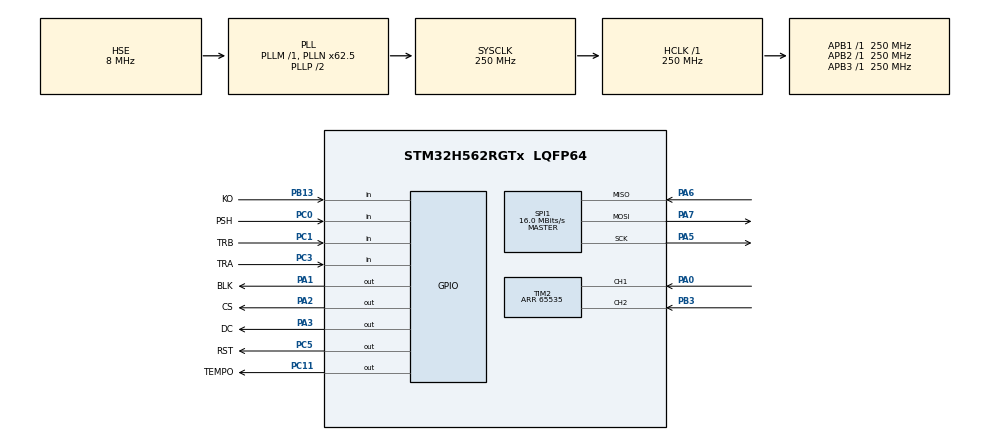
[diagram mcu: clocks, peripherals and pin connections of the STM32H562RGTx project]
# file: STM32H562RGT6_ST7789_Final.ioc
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BOOTPATH.BootPathName=LEGACY
BOOTPATH.UserSelectedBootPath=LEGACY
CORTEX_M33_NS.Number-Cortex_Memory_Protection_Unit_Region0_OTP_RO_AREAS_Settings=MPU_REGION_NUMBER0
CORTEX_M33_NS.default_mode_Activation=1
CORTEX_M33_NS.userName=CORTEX_M33
GPDMA1.DATAHANDLING_GPDMACH0=NONE
GPDMA1.DESTINC_GPDMACH0=DMA_DINC_FIXED
GPDMA1.DIRECTION_GPDMACH0=DMA_MEMORY_TO_PERIPH
GPDMA1.IPHANDLE_GPDMACH0-SIMPLEREQUEST_GPDMACH0=__NULL
GPDMA1.REQUEST_GPDMACH0=GPDMA1_REQUEST_SPI1_TX
GPDMA1.SRCINC_GPDMACH0=DMA_SINC_INCREMENTED
GPDMA1.TRIGGERPOLARITY_GPDMACH0=DMA_TRIG_POLARITY_MASKED
Mcu.Family=STM32H5
Mcu.Name=STM32H562RGTx
Mcu.Package=LQFP64
NVIC.GPDMA1_Channel0_IRQn=true\:0\:0\:false\:false\:true\:false\:true\:true
NVIC.PriorityGroup=NVIC_PRIORITYGROUP_4
NVIC.SPI1_IRQn=true\:0\:0\:false\:false\:true\:true\:true\:true
PA0.Signal=S_TIM2_CH1
PA1.GPIO_Label=BLK
PA1.Signal=GPIO_Output
PA2.GPIO_Label=CS
PA2.GPIO_PuPd=GPIO_NOPULL
PA2.GPIO_Speed=GPIO_SPEED_FREQ_VERY_HIGH
PA2.Signal=GPIO_Output
PA3.GPIO_Label=DC
PA3.GPIO_PuPd=GPIO_NOPULL
PA3.GPIO_Speed=GPIO_SPEED_FREQ_VERY_HIGH
PA3.Signal=GPIO_Output
PA5.Mode=Full_Duplex_Master
PA5.Signal=SPI1_SCK
PA6.Mode=Full_Duplex_Master
PA6.Signal=SPI1_MISO
PA7.Mode=Full_Duplex_Master
PA7.Signal=SPI1_MOSI
PB13.GPIO_Label=KO
PB13.GPIO_PuPd=GPIO_PULLUP
PB13.Signal=GPIO_Input
PB3(JTDO/TRACESWO).Signal=S_TIM2_CH2
PC0.GPIO_Label=PSH
PC0.GPIO_PuPd=GPIO_PULLUP
PC0.Signal=GPIO_Input
PC1.GPIO_Label=TRB
PC1.GPIO_PuPd=GPIO_PULLUP
PC1.Signal=GPIO_Input
PC11.GPIO_Label=TEMPO
PC11.Signal=GPIO_Output
PC14-OSC32_IN(OSC32_IN).Mode=LSE-External-Oscillator
PC14-OSC32_IN(OSC32_IN).Signal=RCC_OSC32_IN
PC15-OSC32_OUT(OSC32_OUT).Mode=LSE-External-Oscillator
PC15-OSC32_OUT(OSC32_OUT).Signal=RCC_OSC32_OUT
PC3.GPIO_Label=TRA
PC3.GPIO_PuPd=GPIO_PULLUP
PC3.Signal=GPIO_Input
PC5.GPIO_Label=RST
PC5.Signal=GPIO_Output
PH0-OSC_IN(PH0).Mode=HSE-External-Oscillator
PH0-OSC_IN(PH0).Signal=RCC_OSC_IN
PH1-OSC_OUT(PH1).Mode=HSE-External-Oscillator
PH1-OSC_OUT(PH1).Signal=RCC_OSC_OUT
ProjectManager.HeapSize=0x200
ProjectManager.StackSize=0x400
ProjectManager.TargetToolchain=STM32CubeIDE
RCC.ADCFreq_Value=250000000
RCC.AHBFreq_Value=250000000
RCC.APB1Freq_Value=250000000
RCC.APB1TimFreq_Value=250000000
RCC.APB2Freq_Value=250000000
RCC.APB2TimFreq_Value=250000000
RCC.APB3Freq_Value=250000000
RCC.CSI_VALUE=4000000
RCC.CortexFreq_Value=250000000
RCC.EPOD_VALUE=8000000
RCC.HCLKFreq_Value=250000000
RCC.HSE_VALUE=8000000
RCC.HSI48_VALUE=48000000
RCC.HSI_VALUE=64000000
RCC.LSIRC_VALUE=32000
RCC.PLL2FRACN=0
RCC.PLL3FRACN=0
RCC.PLLFRACN=4096
RCC.PLLN=62
RCC.PLLSourceVirtual=RCC_PLL1_SOURCE_HSE
RCC.SPI1CLockSelection=RCC_SPI1CLKSOURCE_CLKP
RCC.SPI2CLockSelection=RCC_SPI2CLKSOURCE_CLKP
RCC.SYSCLKFreq_VALUE=250000000
RCC.SYSCLKSource=RCC_SYSCLKSOURCE_PLLCLK
RCC.USBFreq_Value=48000000
RCC.VCOOutputFreq_Value=500000000
SH.S_TIM2_CH1.0=TIM2_CH1,Encoder_Interface
SH.S_TIM2_CH2.0=TIM2_CH2,Encoder_Interface
SPI1.BaudRatePrescaler=SPI_BAUDRATEPRESCALER_2
SPI1.CalculateBaudRate=16.0 MBits/s
SPI1.DataSize=SPI_DATASIZE_8BIT
SPI1.Direction=SPI_DIRECTION_2LINES
SPI1.Mode=SPI_MODE_MASTER
SPI1.NSSPMode=SPI_NSS_PULSE_DISABLE
SPI1.VirtualType=VM_MASTER
TIM2.AutoReloadPreload=TIM_AUTORELOAD_PRELOAD_ENABLE
TIM2.ClockDivision=TIM_CLOCKDIVISION_DIV4
TIM2.EncoderMode=TIM_ENCODERMODE_TI12
TIM2.IC1Filter=10
TIM2.IC2Filter=10
TIM2.PeriodNoDither=65535
VP_BOOTPATH_VS_BOOTPATH.Mode=BP_Activate
VP_CORTEX_M33_NS_VS_Hclk.Mode=Hclk_Mode
VP_GPDMA1_VS_GPDMACH0.Mode=SIMPLEREQUEST_GPDMACH0
VP_ICACHE_VS_ICACHE.Mode=DirectMappedCache
VP_MEMORYMAP_VS_MEMORYMAP.Mode=CurAppReg
VP_PWR_VS_LPOM.Mode=PowerOptimisation
VP_PWR_VS_SECSignals.Mode=Security/Privilege
board=custom

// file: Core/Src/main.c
/* USER CODE BEGIN Header */
/**
  ******************************************************************************
  * @file           : main.c
  * @brief          : Main program body
  ******************************************************************************
  * @attention
  *
  * Copyright (c) 2026 STMicroelectronics.
  * All rights reserved.
  *
  * This software is licensed under terms that can be found in the LICENSE file
  * in the root directory of this software component.
  * If no LICENSE file comes with this software, it is provided AS-IS.
  *
  ******************************************************************************
  */
/* USER CODE END Header */
#include "main.h"

/* USER CODE BEGIN Includes */
#include "st7789.h"
#include "math.h"
#include "stdlib.h" // rand() utiliza esta lib

//#include "string.h"
#include "stdio.h" // Utilizado pelo snprinf

/* USER CODE END Includes */

SPI_HandleTypeDef hspi1;
DMA_HandleTypeDef handle_GPDMA1_Channel0;

TIM_HandleTypeDef htim2;

/* USER CODE BEGIN PV */
volatile uint8_t spi_tx_done = 0;

/* USER CODE END PV */

void SystemClock_Config(void);
void PeriphCommonClock_Config(void);
static void MPU_Config(void);
static void MX_GPIO_Init(void);
static void MX_GPDMA1_Init(void);
static void MX_SPI1_Init(void);
static void MX_ICACHE_Init(void);
static void MX_TIM2_Init(void);

int main(void)
{

  /* MCU Configuration--------------------------------------------------------*/

  /* MPU Configuration--------------------------------------------------------*/
  MPU_Config();

  /* Reset of all peripherals, Initializes the Flash interface and the Systick. */
  HAL_Init();

  /* Configure the system clock */
  SystemClock_Config();

  /* Configure the peripherals common clocks */
  PeriphCommonClock_Config();

  /* Initialize all configured peripherals */
  MX_GPIO_Init();
  MX_GPDMA1_Init();
  MX_SPI1_Init();
  MX_ICACHE_Init();
  MX_TIM2_Init();
  /* USER CODE BEGIN 2 */
  HAL_GPIO_WritePin(BLK_GPIO_Port, BLK_Pin, 1);
  ST7789_Init();
  HAL_TIM_Encoder_Start(&htim2, TIM_CHANNEL_ALL);

  /* USER CODE END 2 */

  /* Infinite loop */
  /* USER CODE BEGIN WHILE */

  uint32_t inicio;
  uint32_t tempo_gasto;
  uint32_t periodo_ms = 10;   // aproximação de 40 Hz

  HAL_GPIO_WritePin(TEMPO_GPIO_Port, TEMPO_Pin, 0);

  ST7789_Fill_Color(BLACK);
  ST7789_WriteString(55, 5, "Snake game", Font_11x18, YELLOW, BLACK);
  ST7789_DrawLine(0, 25, 239, 25, WHITE);
  //ST7789_DrawImage(0, 0, 128, 128, (uint16_t *)saber); // knky

#define CORPO_TOTAL 25
  uint8_t q_x = 10;
  uint8_t q_y = 120;
  uint8_t q_dir = 0; // 0 -> frente, 1 <- traz, 2 ^ cima e 3 v baixo
  char buf[15];
  uint16_t enc_anterior, enc_atual;
  uint8_t tamanho= 1;
  static uint8_t corpo[2][10 * CORPO_TOTAL];
  uint8_t loops = 0;
  uint8_t posx_comida, posy_comida;
  uint8_t comeu = 1;
  uint8_t score = 0;
  uint8_t col_corpo = 0;

  for ( uint8_t i = 0; i < 10; i++) {
 	  corpo[0][i] = i;
      corpo[1][i] = 128;
   }
  __HAL_TIM_SET_COUNTER(&htim2, 32768);
  enc_atual = (uint16_t)(TIM2->CNT)>>2;
  enc_anterior = enc_atual;

  while (1)
  {
	  enc_atual = (uint16_t)(TIM2->CNT)>>2;
	  snprintf(buf, sizeof(buf), "Score: %d", score);
	  ST7789_WriteString(0, 230, buf, Font_7x10, YELLOW, BLACK);
	  HAL_GPIO_TogglePin(TEMPO_GPIO_Port, TEMPO_Pin);
	  inicio = HAL_GetTick();
	  if (loops > 50 && comeu) {
		  posx_comida = (uint8_t)rand()%(200) + 15;
		  posy_comida = (uint8_t)rand()%(180) + 40;

		  loops = 0;
		  comeu = 0;
		  ST7789_DrawFilledCircle(posx_comida, posy_comida, 8, WHITE);
	  }

	  if (enc_anterior != enc_atual ) { // Muda de direção
		  switch(q_dir) {
			  case 0: // Frente
				  if (enc_atual > enc_anterior) {
					  q_dir = 3; // Baixo
				  }
				  if (enc_atual < enc_anterior) {
					  q_dir = 2; // Cima
				  }
				  break;
			  case 1: // Traz
				  if (enc_atual > enc_anterior) {
					  q_dir = 2; // Baixo
				  }
				  if (enc_atual < enc_anterior) {
					  q_dir = 3; // Cima
				  }
				  break;
			  case 2: // Cima
				  if (enc_atual > enc_anterior) {
					  q_dir = 0; // Frente
				  }
				  if (enc_atual < enc_anterior) {
					  q_dir = 1; // Traz
				  }
				  break;
			  case 3: // Baixo
				  if (enc_atual > enc_anterior) {
					  q_dir = 1; // Traz
				  }
				  if (enc_atual < enc_anterior) {
					  q_dir = 0; // Frente
				  }
				  break;
	      }
		  enc_anterior = enc_atual;
	  }
	  if ((q_dir == 0) && (q_x < 239)){ // Frente
		  q_x++;
	  }
	  if ((q_dir == 1) && (q_x > 0)){   // Traz
		  q_x--;
	  }
	  if ((q_dir == 2) && (q_y > 26)){  // Cima
		  q_y--;
	  }
	  if ((q_dir == 3) && (q_y < 239)){ // Baixo
		  q_y++;
	  }

	  // Procula colisão do corpo
	  for ( uint8_t i = 0; i < 10 * tamanho; i++) {
	      if ((corpo[0][i] == q_x ) && (corpo[1][i] == q_y)) {
			  col_corpo = 1;
		  }
	  }

	  if ((q_y >= 239) || (q_y <= 26) || (q_x >= 239) || (q_x <= 0) || (col_corpo == 1)) { // Colisão nos limites da tela
		  for ( uint8_t i = 0; i < 30; i += 3) {
              ST7789_DrawCircle(q_x, q_y, i, RED);
		  }
          HAL_Delay(1000);
          ST7789_WriteString(20, 112, "Game Over!!!", Font_16x26, RED, BLACK);
          HAL_Delay(3000);
          q_x = 0;
          q_y = 120;
          ST7789_Fill_Color(BLACK);
          ST7789_WriteString(55, 5, "Snake game", Font_11x18, YELLOW, BLACK);
          ST7789_DrawLine(0, 25, 239, 25, WHITE);
          __HAL_TIM_SET_COUNTER(&htim2, 32768);
          enc_atual = (uint16_t)(TIM2->CNT)>>2;
          enc_anterior = enc_atual;
          q_dir = 0;
          score = 0;
          tamanho = 1;
          col_corpo = 0;
          comeu  = 1;
          for ( uint8_t i = 0; i < 10; i++) {
         	  corpo[0][i] = i;
              corpo[1][i] = 128;
          }
	  }
	  // Desenha a cobra

	  //for ( uint8_t i = 0; i < 10 * tamanho; i++) {
      //    ST7789_DrawPixel(corpo[0][i], corpo[1][i], WHITE);
	  //}
	  //ST7789_DrawFilledCircle(corpo[0][10 * tamanho - 1], corpo[1][10 * tamanho - 1], 2, WHITE);
	  ST7789_DrawPixel(corpo[0][10 * tamanho - 1], corpo[1][10 * tamanho - 1], WHITE);

	  if ((q_y >= posy_comida-8) && (q_y <= posy_comida +8) && // Comeu
	  (q_x >= posx_comida-8) && (q_x <= posx_comida +8) && (comeu == 0)) {
		  tamanho++;
		  score += 10;
		  comeu = 1;
		  snprintf(buf, sizeof(buf), "Score: %d", score);
		  ST7789_WriteString(0, 230, buf, Font_7x10, YELLOW, BLACK);
		  if (tamanho < (CORPO_TOTAL+1)) {
		      for ( uint8_t i = 0; i < 10; i++) {
		          corpo[0][i + ((tamanho -1) * 10)] = q_x;
		          corpo[1][i + ((tamanho -1) * 10)] = q_y;
		      }
		      ST7789_DrawFilledCircle(posx_comida, posy_comida, 8, BLACK);
		  } else {
	          ST7789_WriteString(40, 112, "You Won!!!", Font_16x26, RED, BLACK);

	          HAL_Delay(3000);
	          q_x = 0;
	          q_y = 120;
	          ST7789_Fill_Color(BLACK);
	          ST7789_WriteString(55, 5, "Snake game", Font_11x18, YELLOW, BLACK);
	          ST7789_DrawLine(0, 25, 239, 25, WHITE);
	          __HAL_TIM_SET_COUNTER(&htim2, 32768);
	          enc_atual = (uint16_t)(TIM2->CNT)>>2;
	          enc_anterior = enc_atual;
	          q_dir = 0;
	          score = 0;
	          tamanho = 1;
	          col_corpo = 0;
	          comeu  = 1;
	          for ( uint8_t i = 0; i < 10; i++) {
	         	  corpo[0][i] = i;
	              corpo[1][i] = 128;
	          }

		  }
      }

    /* USER CODE END WHILE */

    /* USER CODE BEGIN 3 */
      tempo_gasto = HAL_GetTick() - inicio;
      if (tempo_gasto < periodo_ms) {
          HAL_Delay(periodo_ms - tempo_gasto);
      }

      loops++;

      //for ( uint8_t i = 0; i < 10 * tamanho; i++) {
      //    ST7789_DrawPixel(corpo[0][i], corpo[1][i], BLACK);
	  //}
      ST7789_DrawPixel(corpo[0][0], corpo[1][0], BLACK);
	  for ( uint8_t i = 0; i < 10 * tamanho; i++) {
		  corpo[0][i] = corpo[0][i+1];
		  corpo[1][i] = corpo[1][i+1];
	  }
	  corpo[0][10 * tamanho - 1] = q_x;
	  corpo[1][10 * tamanho - 1] = q_y;

  }
  /* USER CODE END 3 */
}

void SystemClock_Config(void)
{
  RCC_OscInitTypeDef RCC_OscInitStruct = {0};
  RCC_ClkInitTypeDef RCC_ClkInitStruct = {0};

  /** Configure the main internal regulator output voltage
  */
  __HAL_PWR_VOLTAGESCALING_CONFIG(PWR_REGULATOR_VOLTAGE_SCALE0);

  while(!__HAL_PWR_GET_FLAG(PWR_FLAG_VOSRDY)) {}

  /** Initializes the RCC Oscillators according to the specified parameters
  * in the RCC_OscInitTypeDef structure.
  */
  RCC_OscInitStruct.OscillatorType = RCC_OSCILLATORTYPE_LSI|RCC_OSCILLATORTYPE_HSE;
  RCC_OscInitStruct.HSEState = RCC_HSE_ON;
  RCC_OscInitStruct.LSIState = RCC_LSI_ON;
  RCC_OscInitStruct.PLL.PLLState = RCC_PLL_ON;
  RCC_OscInitStruct.PLL.PLLSource = RCC_PLL1_SOURCE_HSE;
  RCC_OscInitStruct.PLL.PLLM = 1;
  RCC_OscInitStruct.PLL.PLLN = 62;
  RCC_OscInitStruct.PLL.PLLP = 2;
  RCC_OscInitStruct.PLL.PLLQ = 2;
  RCC_OscInitStruct.PLL.PLLR = 2;
  RCC_OscInitStruct.PLL.PLLRGE = RCC_PLL1_VCIRANGE_3;
  RCC_OscInitStruct.PLL.PLLVCOSEL = RCC_PLL1_VCORANGE_WIDE;
  RCC_OscInitStruct.PLL.PLLFRACN = 4096;
  if (HAL_RCC_OscConfig(&RCC_OscInitStruct) != HAL_OK)
  {
    Error_Handler();
  }

  /** Initializes the CPU, AHB and APB buses clocks
  */
  RCC_ClkInitStruct.ClockType = RCC_CLOCKTYPE_HCLK|RCC_CLOCKTYPE_SYSCLK
                              |RCC_CLOCKTYPE_PCLK1|RCC_CLOCKTYPE_PCLK2
                              |RCC_CLOCKTYPE_PCLK3;
  RCC_ClkInitStruct.SYSCLKSource = RCC_SYSCLKSOURCE_PLLCLK;
  RCC_ClkInitStruct.AHBCLKDivider = RCC_SYSCLK_DIV1;
  RCC_ClkInitStruct.APB1CLKDivider = RCC_HCLK_DIV1;
  RCC_ClkInitStruct.APB2CLKDivider = RCC_HCLK_DIV1;
  RCC_ClkInitStruct.APB3CLKDivider = RCC_HCLK_DIV1;

  if (HAL_RCC_ClockConfig(&RCC_ClkInitStruct, FLASH_LATENCY_5) != HAL_OK)
  {
    Error_Handler();
  }

  /** Configure the programming delay
  */
  __HAL_FLASH_SET_PROGRAM_DELAY(FLASH_PROGRAMMING_DELAY_2);
}

void PeriphCommonClock_Config(void)
{
  RCC_PeriphCLKInitTypeDef PeriphClkInitStruct = {0};

  /** Initializes the peripherals clock
  */
  PeriphClkInitStruct.PeriphClockSelection = RCC_PERIPHCLK_CKPER;
  PeriphClkInitStruct.CkperClockSelection = RCC_CLKPSOURCE_HSI;
  if (HAL_RCCEx_PeriphCLKConfig(&PeriphClkInitStruct) != HAL_OK)
  {
    Error_Handler();
  }
}

static void MX_GPDMA1_Init(void)
{

  /* Peripheral clock enable */
  __HAL_RCC_GPDMA1_CLK_ENABLE();

  /* GPDMA1 interrupt Init */
    HAL_NVIC_SetPriority(GPDMA1_Channel0_IRQn, 0, 0);
    HAL_NVIC_EnableIRQ(GPDMA1_Channel0_IRQn);

}

static void MX_ICACHE_Init(void)
{

  /** Enable instruction cache in 1-way (direct mapped cache)
  */
  if (HAL_ICACHE_ConfigAssociativityMode(ICACHE_1WAY) != HAL_OK)
  {
    Error_Handler();
  }
  if (HAL_ICACHE_Enable() != HAL_OK)
  {
    Error_Handler();
  }

}

static void MX_SPI1_Init(void)
{

  /* SPI1 parameter configuration*/
  hspi1.Instance = SPI1;
  hspi1.Init.Mode = SPI_MODE_MASTER;
  hspi1.Init.Direction = SPI_DIRECTION_2LINES;
  hspi1.Init.DataSize = SPI_DATASIZE_8BIT;
  hspi1.Init.CLKPolarity = SPI_POLARITY_LOW;
  hspi1.Init.CLKPhase = SPI_PHASE_1EDGE;
  hspi1.Init.NSS = SPI_NSS_SOFT;
  hspi1.Init.BaudRatePrescaler = SPI_BAUDRATEPRESCALER_2;
  hspi1.Init.FirstBit = SPI_FIRSTBIT_MSB;
  hspi1.Init.TIMode = SPI_TIMODE_DISABLE;
  hspi1.Init.CRCCalculation = SPI_CRCCALCULATION_DISABLE;
  hspi1.Init.CRCPolynomial = 0x7;
  hspi1.Init.NSSPMode = SPI_NSS_PULSE_DISABLE;
  hspi1.Init.NSSPolarity = SPI_NSS_POLARITY_LOW;
  hspi1.Init.FifoThreshold = SPI_FIFO_THRESHOLD_01DATA;
  hspi1.Init.MasterSSIdleness = SPI_MASTER_SS_IDLENESS_00CYCLE;
  hspi1.Init.MasterInterDataIdleness = SPI_MASTER_INTERDATA_IDLENESS_00CYCLE;
  hspi1.Init.MasterReceiverAutoSusp = SPI_MASTER_RX_AUTOSUSP_DISABLE;
  hspi1.Init.MasterKeepIOState = SPI_MASTER_KEEP_IO_STATE_DISABLE;
  hspi1.Init.IOSwap = SPI_IO_SWAP_DISABLE;
  hspi1.Init.ReadyMasterManagement = SPI_RDY_MASTER_MANAGEMENT_INTERNALLY;
  hspi1.Init.ReadyPolarity = SPI_RDY_POLARITY_HIGH;
  if (HAL_SPI_Init(&hspi1) != HAL_OK)
  {
    Error_Handler();
  }

}

static void MX_TIM2_Init(void)
{

  TIM_Encoder_InitTypeDef sConfig = {0};
  TIM_MasterConfigTypeDef sMasterConfig = {0};

  htim2.Instance = TIM2;
  htim2.Init.Prescaler = 0;
  htim2.Init.CounterMode = TIM_COUNTERMODE_UP;
  htim2.Init.Period = 65535;
  htim2.Init.ClockDivision = TIM_CLOCKDIVISION_DIV4;
  htim2.Init.AutoReloadPreload = TIM_AUTORELOAD_PRELOAD_ENABLE;
  sConfig.EncoderMode = TIM_ENCODERMODE_TI12;
  sConfig.IC1Polarity = TIM_ICPOLARITY_RISING;
  sConfig.IC1Selection = TIM_ICSELECTION_DIRECTTI;
  sConfig.IC1Prescaler = TIM_ICPSC_DIV1;
  sConfig.IC1Filter = 10;
  sConfig.IC2Polarity = TIM_ICPOLARITY_RISING;
  sConfig.IC2Selection = TIM_ICSELECTION_DIRECTTI;
  sConfig.IC2Prescaler = TIM_ICPSC_DIV1;
  sConfig.IC2Filter = 10;
  if (HAL_TIM_Encoder_Init(&htim2, &sConfig) != HAL_OK)
  {
    Error_Handler();
  }
  sMasterConfig.MasterOutputTrigger = TIM_TRGO_RESET;
  sMasterConfig.MasterSlaveMode = TIM_MASTERSLAVEMODE_DISABLE;
  if (HAL_TIMEx_MasterConfigSynchronization(&htim2, &sMasterConfig) != HAL_OK)
  {
    Error_Handler();
  }

}

static void MX_GPIO_Init(void)
{
  GPIO_InitTypeDef GPIO_InitStruct = {0};

  /* GPIO Ports Clock Enable */
  __HAL_RCC_GPIOC_CLK_ENABLE();
  __HAL_RCC_GPIOH_CLK_ENABLE();
  __HAL_RCC_GPIOA_CLK_ENABLE();
  __HAL_RCC_GPIOB_CLK_ENABLE();

  /*Configure GPIO pin Output Level */
  HAL_GPIO_WritePin(GPIOA, BLK_Pin|CS_Pin|DC_Pin, GPIO_PIN_RESET);

  /*Configure GPIO pin Output Level */
  HAL_GPIO_WritePin(GPIOC, RST_Pin|TEMPO_Pin, GPIO_PIN_RESET);

  /*Configure GPIO pins : PSH_Pin TRB_Pin TRA_Pin */
  GPIO_InitStruct.Pin = PSH_Pin|TRB_Pin|TRA_Pin;
  GPIO_InitStruct.Mode = GPIO_MODE_INPUT;
  GPIO_InitStruct.Pull = GPIO_PULLUP;
  HAL_GPIO_Init(GPIOC, &GPIO_InitStruct);

  /*Configure GPIO pin : BLK_Pin */
  GPIO_InitStruct.Pin = BLK_Pin;
  GPIO_InitStruct.Mode = GPIO_MODE_OUTPUT_PP;
  GPIO_InitStruct.Pull = GPIO_NOPULL;
  GPIO_InitStruct.Speed = GPIO_SPEED_FREQ_LOW;
  HAL_GPIO_Init(BLK_GPIO_Port, &GPIO_InitStruct);

  /*Configure GPIO pins : CS_Pin DC_Pin */
  GPIO_InitStruct.Pin = CS_Pin|DC_Pin;
  GPIO_InitStruct.Mode = GPIO_MODE_OUTPUT_PP;
  GPIO_InitStruct.Pull = GPIO_NOPULL;
  GPIO_InitStruct.Speed = GPIO_SPEED_FREQ_VERY_HIGH;
  HAL_GPIO_Init(GPIOA, &GPIO_InitStruct);

  /*Configure GPIO pins : RST_Pin TEMPO_Pin */
  GPIO_InitStruct.Pin = RST_Pin|TEMPO_Pin;
  GPIO_InitStruct.Mode = GPIO_MODE_OUTPUT_PP;
  GPIO_InitStruct.Pull = GPIO_NOPULL;
  GPIO_InitStruct.Speed = GPIO_SPEED_FREQ_LOW;
  HAL_GPIO_Init(GPIOC, &GPIO_InitStruct);

  /*Configure GPIO pin : KO_Pin */
  GPIO_InitStruct.Pin = KO_Pin;
  GPIO_InitStruct.Mode = GPIO_MODE_INPUT;
  GPIO_InitStruct.Pull = GPIO_PULLUP;
  HAL_GPIO_Init(KO_GPIO_Port, &GPIO_InitStruct);

}

/* USER CODE BEGIN 4 */
void HAL_SPI_TxCpltCallback(SPI_HandleTypeDef *hspi)
{
    if (hspi == &ST7789_SPI_PORT)
    {
        spi_tx_done = 1;
    }
}
/* USER CODE END 4 */

 /* MPU Configuration */

void MPU_Config(void)
{
  MPU_Region_InitTypeDef MPU_InitStruct = {0};
  MPU_Attributes_InitTypeDef MPU_AttributesInit = {0};

  /* Disables the MPU */
  HAL_MPU_Disable();

  /** Initializes and configures the Region 0 and the memory to be protected
  */
  MPU_InitStruct.Enable = MPU_REGION_ENABLE;
  MPU_InitStruct.Number = MPU_REGION_NUMBER0;
  MPU_InitStruct.BaseAddress = 0x08FFF000;
  MPU_InitStruct.LimitAddress = 0x08FFFFFF;
  MPU_InitStruct.AttributesIndex = MPU_ATTRIBUTES_NUMBER0;
  MPU_InitStruct.AccessPermission = MPU_REGION_ALL_RO;
  MPU_InitStruct.DisableExec = MPU_INSTRUCTION_ACCESS_DISABLE;
  MPU_InitStruct.IsShareable = MPU_ACCESS_NOT_SHAREABLE;

  HAL_MPU_ConfigRegion(&MPU_InitStruct);

  /** Initializes and configures the Attribute 0 and the memory to be protected
  */
  MPU_AttributesInit.Number = MPU_ATTRIBUTES_NUMBER0;
  MPU_AttributesInit.Attributes = INNER_OUTER(MPU_NOT_CACHEABLE);

  HAL_MPU_ConfigMemoryAttributes(&MPU_AttributesInit);
  /* Enables the MPU */
  HAL_MPU_Enable(MPU_PRIVILEGED_DEFAULT);

}

void Error_Handler(void)
{
  __disable_irq();
  while (1)
  {
  }
}
